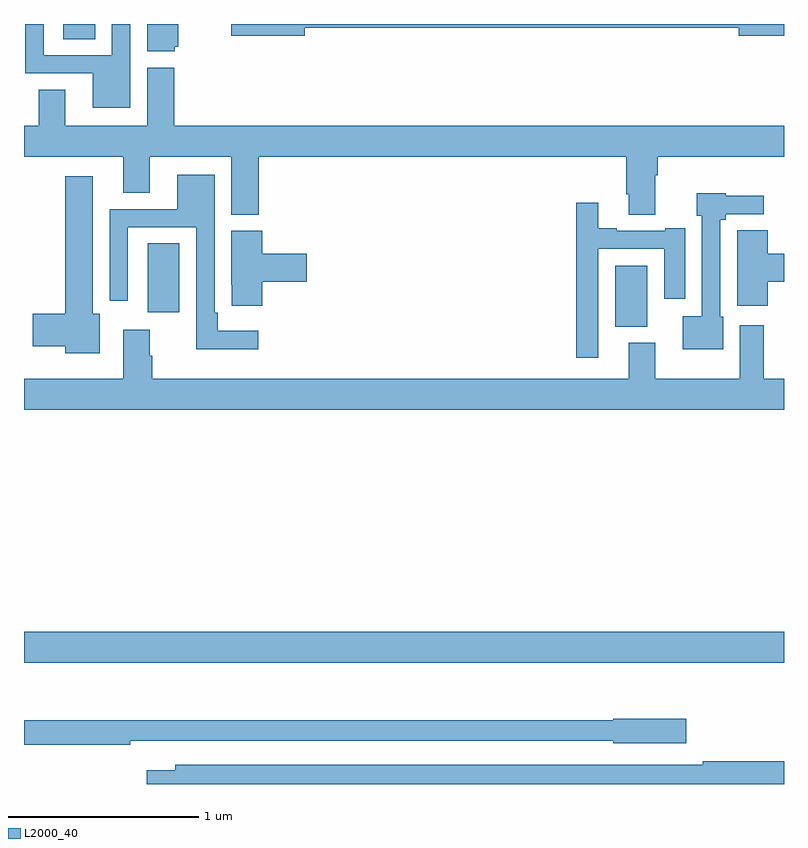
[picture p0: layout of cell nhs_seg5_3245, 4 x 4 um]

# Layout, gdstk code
import gdstk
lib = gdstk.Library(unit=1e-6, precision=1e-09)
def R(c, l, rs):  # rectangles x0, y0, x1, y1
    for r in rs: c.add(gdstk.rectangle(r[:2], r[2:], *l))
def P(c, l, *ps):  # polygons
    for p in ps: c.add(gdstk.Polygon(p, *l))
L2000_40 = (2000, 40)

nhs_seg5_3245 = lib.new_cell('nhs_seg5_3245')
R(nhs_seg5_3245, L2000_40, [(299,847.436,303,847.6), (302.111,849.206,302.281,849.526), (299.651,849.282,299.818,849.644), (299.207,850.72,299.374,850.799)])
P(nhs_seg5_3245, L2000_40, [(300.478,850.78),(302.762,850.78),(302.762,850.738),(303,850.738),(303,850.799),(300.09,850.799),(300.09,850.738),(300.478,850.738)],
  [(299.559,850.799),(299.463,850.799),(299.463,850.635),(299.103,850.635),(299.103,850.799),(299.007,850.799),(299.007,850.539),(299.363,850.539),(299.363,850.358),(299.559,850.358)],
  [(299.793,850.68),(299.812,850.68),(299.812,850.799),(299.648,850.799),(299.648,850.655),(299.793,850.655)],
  [(300.236,850.1),(302.171,850.1),(302.171,849.904),(302.183,849.904),(302.183,849.796),(302.323,849.796),(302.323,850.004),(302.336,850.004),(302.336,850.1),(303,850.1),(303,850.264),(299.792,850.264),(299.792,850.57),(299.648,850.57),(299.648,850.264),(299.218,850.264),(299.218,850.454),(299.078,850.454),(299.078,850.264),(299,850.264),(299,850.1),(299.522,850.1),(299.522,849.91),(299.662,849.91),(299.662,850.1),(300.092,850.1),(300.092,849.796),(300.236,849.796)],
  [(300.232,849.184),(300.019,849.184),(300.019,849.28),(300.003,849.28),(300.003,850.006),(299.807,850.006),(299.807,849.825),(299.451,849.825),(299.451,849.342),(299.547,849.342),(299.547,849.729),(299.907,849.729),(299.907,849.086),(300.232,849.086)],
  [(299.398,849.275),(299.362,849.275),(299.362,849.997),(299.216,849.997),(299.216,849.275),(299.046,849.275),(299.046,849.104),(299.216,849.104),(299.216,849.065),(299.398,849.065)],
  [(302.68,849.258),(302.664,849.258),(302.664,849.77),(302.694,849.77),(302.694,849.798),(302.893,849.798),(302.893,849.896),(302.694,849.896),(302.694,849.907),(302.54,849.907),(302.54,849.789),(302.568,849.789),(302.568,849.262),(302.468,849.262),(302.468,849.086),(302.68,849.086)],
  [(302.022,849.615),(302.369,849.615),(302.369,849.354),(302.479,849.354),(302.479,849.724),(302.375,849.724),(302.375,849.711),(302.119,849.711),(302.119,849.724),(302.023,849.724),(302.023,849.859),(301.906,849.859),(301.906,849.042),(302.022,849.042)],
  [(302.915,849.443),(303,849.443),(303,849.59),(302.915,849.59),(302.915,849.713),(302.753,849.713),(302.753,849.315),(302.915,849.315)],
  [(300.254,849.443),(300.487,849.443),(300.487,849.59),(300.254,849.59),(300.254,849.711),(300.092,849.711),(300.092,849.427),(300.093,849.427),(300.093,849.315),(300.254,849.315)],
  [(303,848.932),(302.894,848.932),(302.894,849.214),(302.768,849.214),(302.768,848.932),(302.323,848.932),(302.323,849.121),(302.183,849.121),(302.183,848.932),(299.675,848.932),(299.675,849.053),(299.662,849.053),(299.662,849.19),(299.522,849.19),(299.522,848.932),(299,848.932),(299,848.768),(303,848.768)],
  [(299.558,847.026),(302.1,847.026),(302.1,847.013),(302.485,847.013),(302.485,847.143),(302.1,847.143),(302.1,847.135),(299,847.135),(299,847.006),(299.558,847.006)],
  [(303,846.92),(302.572,846.92),(302.572,846.9),(299.795,846.9),(299.795,846.871),(299.646,846.871),(299.646,846.799),(303,846.799)])

lib.write_gds('nhs_seg5_3245.gds')
